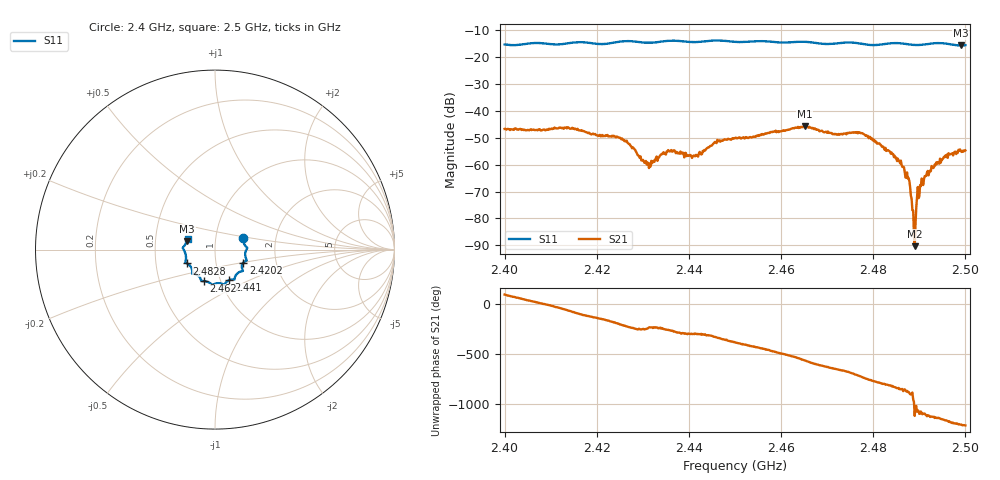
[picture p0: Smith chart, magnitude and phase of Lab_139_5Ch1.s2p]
# Hz S RI R 50
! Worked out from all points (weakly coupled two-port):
!   601 points, 2.4 GHz to 2.5 GHz, reference 50 ohm
!   highest |S21| = -45.85 dB at 2.4652 GHz (marker M1); lowest = -90.3 dB at 2.489 GHz (marker M2)
!   lowest |S11| = -15.8 dB at 2.499 GHz (marker M3), VSWR 1.39, Z = 36.4 + j3.53 ohm
!   |S11| at or under -10 dB: start of sweep to end of sweep
!   S12 and S22 are empty: the file has one direction only
!   S11 on the Smith chart (normalised r, x): 2.4 GHz: 1.36, +0.17; 2.4202 GHz: 1.36, -0.20; 2.441 GHz: 1.10, -0.39; 2.462 GHz: 0.83, -0.30; 2.4828 GHz: 0.72, -0.11; 2.5 GHz: 0.73, +0.09
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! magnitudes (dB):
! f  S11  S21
! 2.4 GHz  -15.4  -46.8
! 2.4167 GHz  -14.6  -47.5
! 2.4202 GHz  -15.2  -49.2
! 2.426 GHz  -14.2  -51.3
! 2.4312 GHz  -14.8  -59.5
! 2.4333 GHz  -14.5  -57.5
! 2.4357 GHz  -14.1  -55.0
! 2.441 GHz  -14.6  -56.6
! 2.45 GHz  -14.4  -50.2
! 2.462 GHz  -14.6  -46.9
! 2.4652 GHz  -14.4  -45.8
! 2.4667 GHz  -14.6  -46.5
! 2.4773 GHz  -15.1  -48.3
! 2.4828 GHz  -15.1  -54.9
! 2.4833 GHz  -15.0  -54.8
! 2.4872 GHz  -15.3  -64.9
! 2.4887 GHz  -15.6  -77.1
! 2.489 GHz  -15.6  -90.3
! 2.4902 GHz  -15.6  -67.6
! 2.4917 GHz  -15.3  -63.0
! 2.499 GHz  -15.8  -54.9
! 2.5 GHz  -15.7  -54.8
